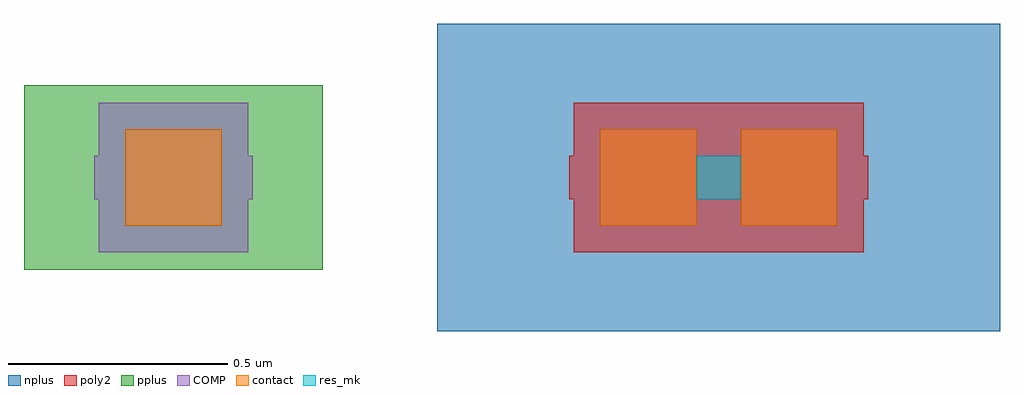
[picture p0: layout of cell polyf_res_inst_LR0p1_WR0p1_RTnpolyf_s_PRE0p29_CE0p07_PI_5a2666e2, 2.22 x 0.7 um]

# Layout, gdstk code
import gdstk
lib = gdstk.Library(unit=1e-6, precision=1e-09)
def R(c, l, rs):  # rectangles x0, y0, x1, y1
    for r in rs: c.add(gdstk.rectangle(r[:2], r[2:], *l))
COMP = (22, 0)
poly2 = (30, 0)
pplus = (31, 0)
nplus = (32, 0)
contact = (33, 0)
res_mk = (110, 5)

rectangle_gdsfactorypcom = lib.new_cell('rectangle_gdsfactorypcomponentspshapesprectangle_S0p1_0_9a16bc71')
R(rectangle_gdsfactorypcom, res_mk, [(0,0,0.1,0.1)])

c_rectangle_gdsfactorypcom = lib.new_cell('rectangle_gdsfactorypcomponentspshapesprectangle_S0p679_b8df1aeb')
R(c_rectangle_gdsfactorypcom, poly2, [(0,0,0.68,0.1)])

c_rectangle_gdsfactorypcom_ = lib.new_cell('rectangle_gdsfactorypcomponentspshapesprectangle_S0p22__bfea7709')
R(c_rectangle_gdsfactorypcom_, contact, [(0,0,0.22,0.22)])

via_generator_xrm0p29_0p = lib.new_cell('via_generator_XRm0p29_0p07_YR0_0p1_VS0p22_0p22_VLcontac_2a18fe85')
via_generator_xrm0p29_0p.add(gdstk.Reference(c_rectangle_gdsfactorypcom_, (-0.22,-0.06)))

c_rectangle_gdsfactorypcom__ = lib.new_cell('rectangle_gdsfactorypcomponentspshapesprectangle_S0p339_f4050e4b')
R(c_rectangle_gdsfactorypcom__, poly2, [(0,0,0.34,0.34)])

via_stack_xrm0p29_0p07_y = lib.new_cell('via_stack_XRm0p29_0p07_YR0_0p1_ML1_CS0p22_0p22_CE0p07_M_c8b03a17')
via_stack_xrm0p29_0p07_y.add(gdstk.Reference(via_generator_xrm0p29_0p, (0,0)))
via_stack_xrm0p29_0p07_y.add(gdstk.Reference(c_rectangle_gdsfactorypcom__, (-0.28,-0.12)))

c_rectangle_gdsfactorypcom___ = lib.new_cell('rectangle_gdsfactorypcomponentspshapesprectangle_S1p279_36c1c051')
R(c_rectangle_gdsfactorypcom___, nplus, [(0,0,1.28,0.7)])

c_rectangle_gdsfactorypcom____ = lib.new_cell('rectangle_gdsfactorypcomponentspshapesprectangle_S0p36__b404f8e0')
R(c_rectangle_gdsfactorypcom____, COMP, [(0,0,0.36,0.1)])

via_generator_xrm1p37_m1 = lib.new_cell('via_generator_XRm1p37_m1p01_YR0_0p1_VS0p22_0p22_VLconta_4c601b03')
via_generator_xrm1p37_m1.add(gdstk.Reference(c_rectangle_gdsfactorypcom_, (-1.3,-0.06)))

c_rectangle_gdsfactorypcom_____ = lib.new_cell('rectangle_gdsfactorypcomponentspshapesprectangle_S0p339_7cf635e5')
R(c_rectangle_gdsfactorypcom_____, COMP, [(0,0,0.34,0.34)])

via_stack_xrm1p37_m1p01_ = lib.new_cell('via_stack_XRm1p37_m1p01_YR0_0p1_ML1_CS0p22_0p22_CE0p07__e91dd2ea')
via_stack_xrm1p37_m1p01_.add(gdstk.Reference(via_generator_xrm1p37_m1, (0,0)))
via_stack_xrm1p37_m1p01_.add(gdstk.Reference(c_rectangle_gdsfactorypcom_____, (-1.36,-0.12)))

c_rectangle_gdsfactorypcom______ = lib.new_cell('rectangle_gdsfactorypcomponentspshapesprectangle_S0p680_95c9c628')
R(c_rectangle_gdsfactorypcom______, pplus, [(0,0,0.68,0.42)])

polyf_res_inst_lr0p1_wr0 = lib.new_cell('polyf_res_inst_LR0p1_WR0p1_RTnpolyf_s_PRE0p29_CE0p07_PI_5a2666e2')
polyf_res_inst_lr0p1_wr0.add(gdstk.Reference(rectangle_gdsfactorypcom, (0,0)))
polyf_res_inst_lr0p1_wr0.add(gdstk.Reference(c_rectangle_gdsfactorypcom, (-0.29,0)))
r = gdstk.Reference(via_stack_xrm0p29_0p07_y, (0,0)); r.repetition = gdstk.Repetition(2, 1, v1=(0.32,0), v2=(0,0)); polyf_res_inst_lr0p1_wr0.add(r)
polyf_res_inst_lr0p1_wr0.add(gdstk.Reference(c_rectangle_gdsfactorypcom___, (-0.59,-0.3)))
polyf_res_inst_lr0p1_wr0.add(gdstk.Reference(c_rectangle_gdsfactorypcom____, (-1.37,0)))
polyf_res_inst_lr0p1_wr0.add(gdstk.Reference(via_stack_xrm1p37_m1p01_, (0,0)))
polyf_res_inst_lr0p1_wr0.add(gdstk.Reference(c_rectangle_gdsfactorypcom______, (-1.53,-0.16)))

lib.write_gds('polyf_res_inst_LR0p1_WR0p1_RTnpolyf_s_PRE0p29_CE0p07_PI_5a2666e2.gds')
